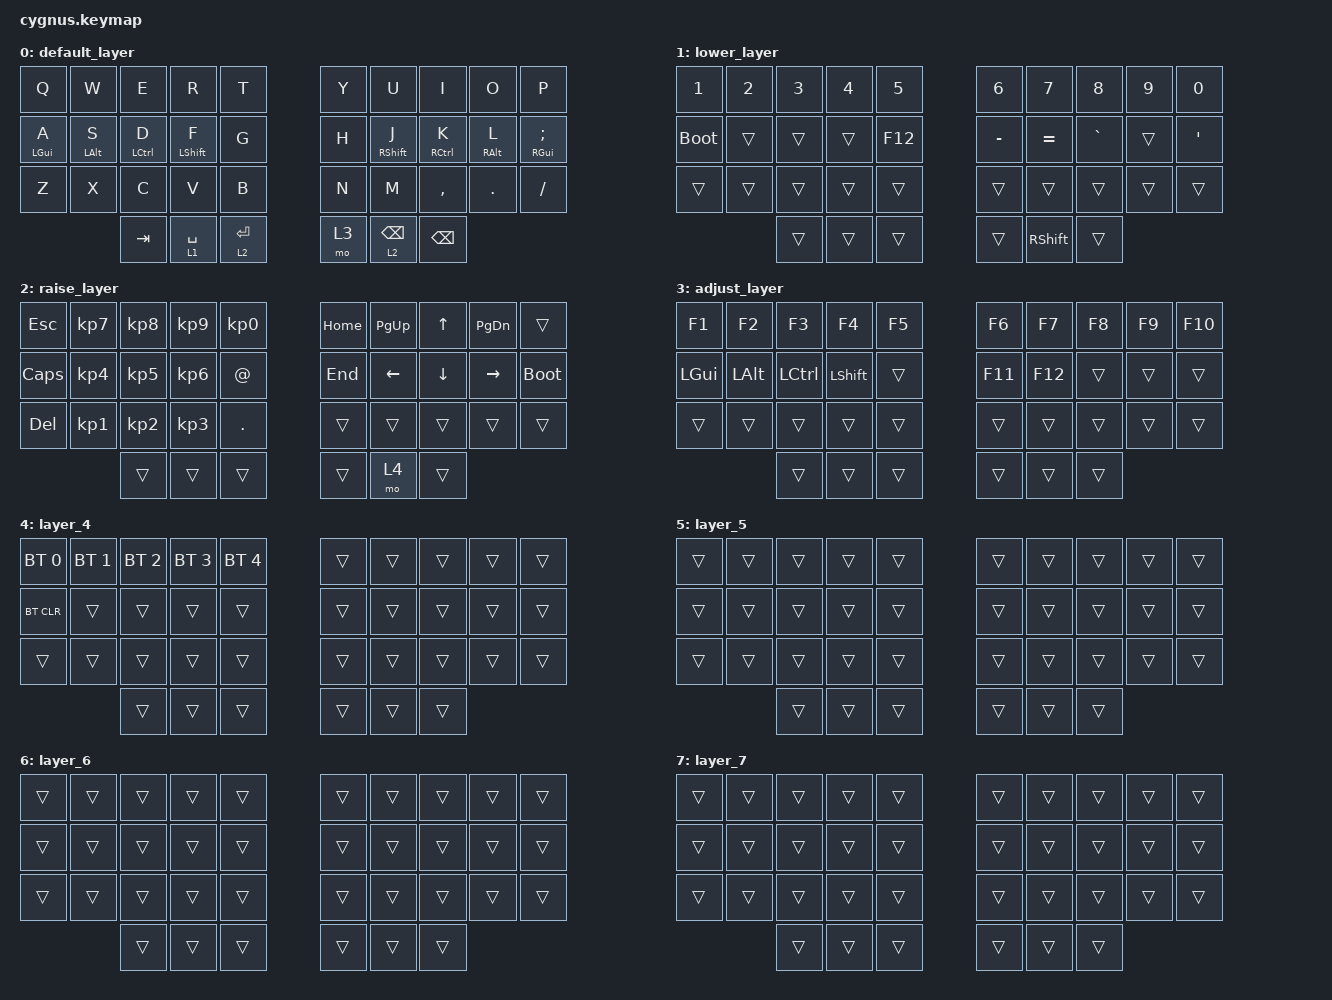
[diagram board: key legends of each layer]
/*
 * Copyright (c) 2020 The ZMK Contributors
 *
 * SPDX-License-Identifier: MIT
 */

#include <behaviors.dtsi>
#include <dt-bindings/zmk/bt.h>
#include <dt-bindings/zmk/keys.h>

&mt {
    tapping-term-ms = <200>;
    flavor = "tap-preferred";
};

&sk {
    release-after-ms = <2000>;
    quick-release;
};

/ {
    combos {
        compatible = "zmk,combos";

        left_bkt {
            bindings = <&kp LBKT>;
            key-positions = <3 2>;
            timeout-ms = <50>;
        };

        right_bkt {
            bindings = <&kp RBKT>;
            key-positions = <6 7>;
            timeout-ms = <50>;
        };

        left_par {
            bindings = <&kp LEFT_PARENTHESIS>;
            key-positions = <12 13>;
            timeout-ms = <50>;
        };

        right_par {
            bindings = <&kp RIGHT_PARENTHESIS>;
            key-positions = <16 17>;
            timeout-ms = <50>;
        };

        left_brace {
            bindings = <&kp LEFT_BRACE>;
            key-positions = <23 22>;
            timeout-ms = <50>;
        };

        right_brace {
            bindings = <&kp RIGHT_BRACE>;
            key-positions = <26 27>;
            timeout-ms = <50>;
        };

        bac {
            bindings = <&kp BACKSLASH>;
            key-positions = <4 5>;
        };

        pipe {
            bindings = <&kp PIPE>;
            key-positions = <14 15>;
        };
    };

    behaviors {
        hm: homerow_mods {
            compatible = "zmk,behavior-hold-tap";
            label = "HOMEROW_MODS";
            #binding-cells = <2>;
            tapping-term-ms = <200>;
            quick_tap_ms = <0>;
            flavor = "tap-preferred";
            bindings = <&kp>, <&kp>;

            quick-tap-ms = <180>;
            global-quick-tap;
        };
        ltq: ltq {
            compatible = "zmk,behavior-hold-tap";
            label = "LTQ";
            #binding-cells = <2>;
            tapping-term-ms = <250>;
            quick_tap_ms = <0>;
            flavor = "hold-preferred";
            bindings = <&mo>, <&kp>;

            quick-tap-ms = <200>;
            global-quick-tap;
        };
    };

    keymap {
        compatible = "zmk,keymap";

        default_layer {
            bindings = <
&kp Q                    &kp W                        &kp E                     &kp R             &kp T  &kp Y                            &kp U              &kp I        &kp O            &kp P
&hm LEFT_GUI A           &hm LEFT_ALT S               &hm LCTRL D               &hm LEFT_SHIFT F  &kp G  &kp H                            &hm RIGHT_SHIFT J  &hm RCTRL K  &hm RIGHT_ALT L  &hm RIGHT_GUI SEMI
&kp Z                    &kp X                        &kp C                     &kp V             &kp B  &kp N                            &kp M              &kp COMMA    &kp PERIOD       &kp FSLH
                &kp TAB                  &lt 1 SPACE               &lt 2 ENTER                    &mo 3  &ltq 2 BACKSPACE  &kp BACKSPACE
            >;
        };

        lower_layer {
            bindings = <
&kp N1               &kp N2          &kp N3          &kp N4  &kp N5   &kp N6             &kp N7     &kp N8     &kp N9  &kp N0
&bootloader          &trans          &trans          &trans  &kp F12  &kp MINUS          &kp EQUAL  &kp GRAVE  &trans  &kp SQT
&trans               &trans          &trans          &trans  &trans   &trans             &trans     &trans     &trans  &trans
             &trans          &trans          &trans          &trans   &kp RSHFT  &trans
            >;
        };

        raise_layer {
            bindings = <
&kp ESC               &kp KP_NUMBER_7          &kp KP_NUMBER_8          &kp KP_NUMBER_9  &kp KP_NUMBER_0  &kp HOME          &kp PAGE_UP     &kp UP    &kp PAGE_DOWN  &trans
&kp CAPSLOCK          &kp KP_NUMBER_4          &kp KP_NUMBER_5          &kp KP_NUMBER_6  &kp AT           &kp END           &kp LEFT_ARROW  &kp DOWN  &kp RIGHT      &bootloader
&kp DEL               &kp KP_N1                &kp KP_NUMBER_2          &kp KP_NUMBER_3  &kp DOT          &trans            &trans          &trans    &trans         &trans
              &trans                   &trans                   &trans                   &trans           &mo 4     &trans
            >;
        };

        adjust_layer {
            bindings = <
&kp F1                &kp F2                &kp F3             &kp F4          &kp F5  &kp F6           &kp F7   &kp F8  &kp F9  &kp F10
&kp LEFT_GUI          &kp LEFT_ALT          &kp LCTRL          &kp LEFT_SHIFT  &trans  &kp F11          &kp F12  &trans  &trans  &trans
&trans                &trans                &trans             &trans          &trans  &trans           &trans   &trans  &trans  &trans
              &trans                &trans             &trans                  &trans  &trans   &trans
            >;
        };

        layer_4 {
            bindings = <
&bt BT_SEL 0          &bt BT_SEL 1          &bt BT_SEL 2          &bt BT_SEL 3  &bt BT_SEL 4  &trans          &trans  &trans  &trans  &trans
&bt BT_CLR            &trans                &trans                &trans        &trans        &trans          &trans  &trans  &trans  &trans
&trans                &trans                &trans                &trans        &trans        &trans          &trans  &trans  &trans  &trans
              &trans                &trans                &trans                &trans        &trans  &trans
            >;
        };

        layer_5 {
            bindings = <
&trans          &trans          &trans          &trans  &trans  &trans          &trans  &trans  &trans  &trans
&trans          &trans          &trans          &trans  &trans  &trans          &trans  &trans  &trans  &trans
&trans          &trans          &trans          &trans  &trans  &trans          &trans  &trans  &trans  &trans
        &trans          &trans          &trans          &trans  &trans  &trans
            >;
        };

        layer_6 {
            bindings = <
&trans          &trans          &trans          &trans  &trans  &trans          &trans  &trans  &trans  &trans
&trans          &trans          &trans          &trans  &trans  &trans          &trans  &trans  &trans  &trans
&trans          &trans          &trans          &trans  &trans  &trans          &trans  &trans  &trans  &trans
        &trans          &trans          &trans          &trans  &trans  &trans
            >;
        };

        layer_7 {
            bindings = <
&trans          &trans          &trans          &trans  &trans  &trans          &trans  &trans  &trans  &trans
&trans          &trans          &trans          &trans  &trans  &trans          &trans  &trans  &trans  &trans
&trans          &trans          &trans          &trans  &trans  &trans          &trans  &trans  &trans  &trans
        &trans          &trans          &trans          &trans  &trans  &trans
            >;
        };
    };
};
